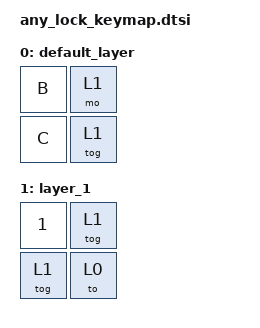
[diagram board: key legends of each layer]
#include <dt-bindings/zmk/keys.h>
#include <behaviors.dtsi>
#include <dt-bindings/zmk/kscan_mock.h>

/*
 * Like behavior_keymap.dtsi, plus a second &tog 1 inside layer 1 at (1,0), so a lock can be
 * taken while &mo 1 is still held at (0,1). Define ANY_LOCK before including this file to
 * set `triggers-on-any-lock`.
 */
/ {
    layer_idle_lock {
        compatible = "zmk,layer-idle-lock";

        lock_1 {
            layer = <1>;
            idle-ms = <500>;
            enter = <&kp F13>;
            exit = <&kp F14>;
#ifdef ANY_LOCK
            triggers-on-any-lock;
#endif
        };
    };

    keymap {
        compatible = "zmk,keymap";

        default_layer {
            bindings = <
                &kp B  &mo 1
                &kp C  &tog 1>;
        };

        layer_1 {
            bindings = <
                &kp N1  &tog 1
                &tog 1  &to 0>;
        };
    };
};
